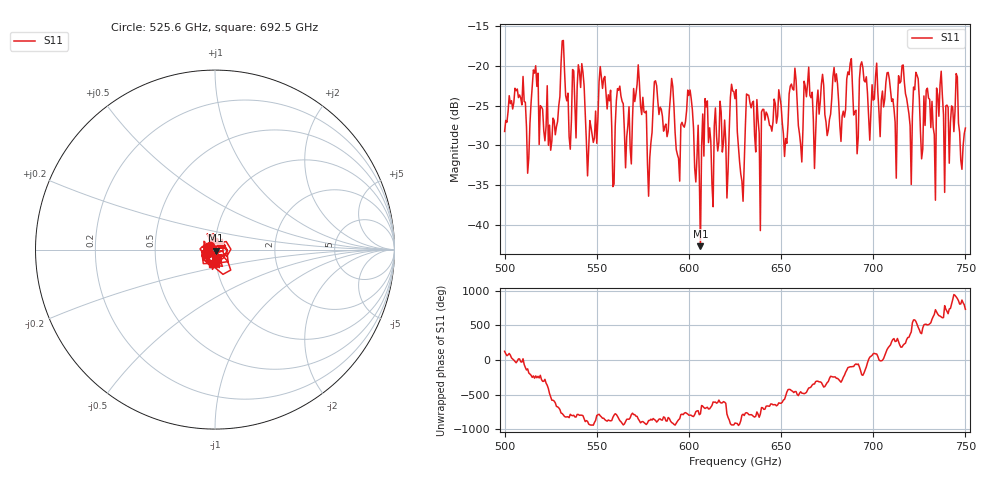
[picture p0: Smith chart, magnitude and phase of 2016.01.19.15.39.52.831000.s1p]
!Created with skrf (http://scikit-rf.org).
# GHz S RI R 50.0
!freq ReS11 ImS11
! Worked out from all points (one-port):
!   401 points, 500 GHz to 750 GHz, reference 50 ohm
!   lowest |S11| = -42.7 dB at 606.2 GHz (marker M1), VSWR 1.01, Z = 50.4 - j0.607 ohm
!   |S11| at or under -10 dB: start of sweep to end of sweep
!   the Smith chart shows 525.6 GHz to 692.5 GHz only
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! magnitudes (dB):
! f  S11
! 500 GHz  -28.3
! 513.1 GHz  -31.6
! 516.9 GHz  -20.0
! 525 GHz  -30.6
! 531.2 GHz  -16.8
! 545.6 GHz  -30.5
! 562.5 GHz  -22.5
! 566.9 GHz  -27.5
! 572.5 GHz  -19.9
! 578.8 GHz  -31.6
! 581.9 GHz  -21.9
! 590.6 GHz  -21.6
! 593.8 GHz  -31.2
! 600.6 GHz  -23.0
! 606.2 GHz  -42.7
! 625 GHz  -24.1
! 628.8 GHz  -34.5
! 632.5 GHz  -23.7
! 652.5 GHz  -29.2
! 656.2 GHz  -22.9
! 660.6 GHz  -30.0
! 663.8 GHz  -23.9
! 683.1 GHz  -26.3
! 687.5 GHz  -19.7
! 690.6 GHz  -25.6
! 693.8 GHz  -19.5
! 718.8 GHz  -25.0
! 750 GHz  -27.8
